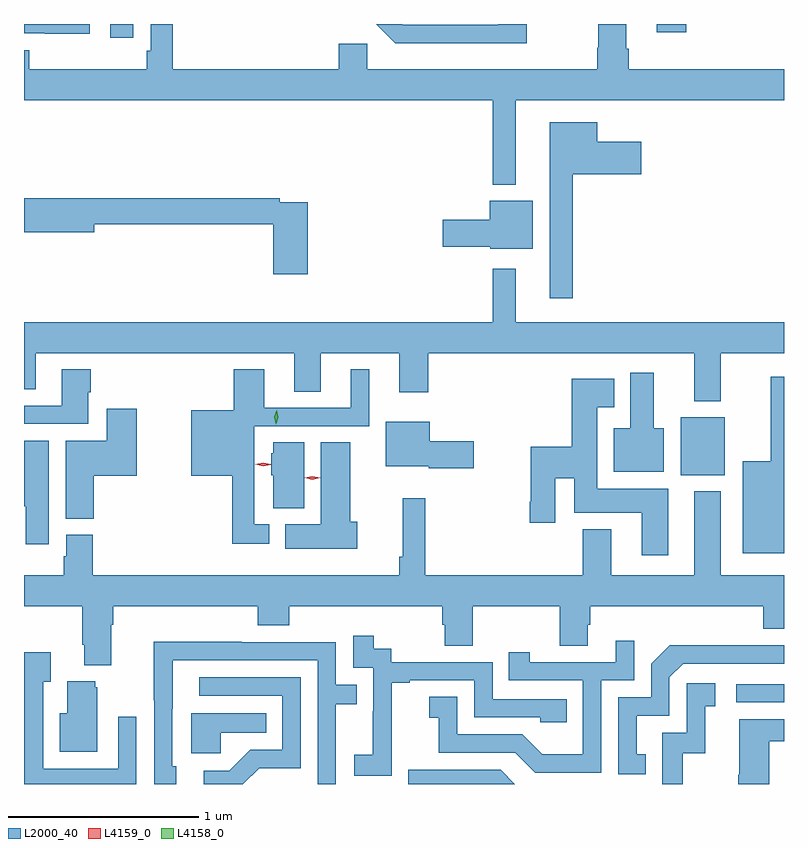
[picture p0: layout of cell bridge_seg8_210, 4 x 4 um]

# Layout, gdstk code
import gdstk
lib = gdstk.Library(unit=1e-6, precision=1e-09)
def R(c, l, rs):  # rectangles x0, y0, x1, y1
    for r in rs: c.add(gdstk.rectangle(r[:2], r[2:], *l))
def P(c, l, *ps):  # polygons
    for p in ps: c.add(gdstk.Polygon(p, *l))
L2000_40 = (2000, 40)
L4158_0 = (4158, 0)
L4159_0 = (4159, 0)

bridge_seg8_210 = lib.new_cell('bridge_seg8_210')
R(bridge_seg8_210, L2000_40, [(162.441,1105.338,162.693,1105.434), (162.149,1106.534,162.382,1106.839), (159.146,1108.836,159.268,1108.909), (162.023,1108.866,162.179,1108.909)])
P(bridge_seg8_210, L2000_40, [(161.281,1108.508),(162.693,1108.508),(162.693,1108.672),(161.876,1108.672),(161.876,1108.778),(161.863,1108.778),(161.863,1108.909),(161.716,1108.909),(161.716,1108.785),(161.711,1108.785),(161.711,1108.672),(160.5,1108.672),(160.5,1108.804),(160.349,1108.804),(160.349,1108.672),(159.476,1108.672),(159.476,1108.909),(159.36,1108.909),(159.36,1108.768),(159.34,1108.768),(159.34,1108.672),(158.72,1108.672),(158.72,1108.771),(158.693,1108.771),(158.693,1108.508),(161.16,1108.508),(161.16,1108.064),(161.281,1108.064)],
  [(159.04,1108.909),(158.693,1108.909),(158.693,1108.86),(158.803,1108.86),(158.803,1108.859),(159.04,1108.859)],
  [(161.338,1108.909),(161.189,1108.909),(161.189,1108.905),(160.689,1108.905),(160.685,1108.909),(160.547,1108.909),(160.648,1108.808),(161.338,1108.808)],
  [(161.581,1108.118),(161.941,1108.118),(161.941,1108.288),(161.71,1108.288),(161.71,1108.393),(161.459,1108.393),(161.459,1107.465),(161.581,1107.465)],
  [(160.187,1107.972),(160.04,1107.972),(160.04,1107.992),(158.693,1107.992),(158.693,1107.814),(159.064,1107.814),(159.064,1107.856),(160.004,1107.856),(160.004,1107.591),(160.187,1107.591)],
  [(161.371,1107.979),(161.144,1107.979),(161.144,1107.878),(160.896,1107.878),(160.896,1107.736),(161.148,1107.736),(161.148,1107.725),(161.371,1107.725)],
  [(162.361,1107.176),(162.693,1107.176),(162.693,1107.34),(161.281,1107.34),(161.281,1107.622),(161.16,1107.622),(161.16,1107.34),(158.693,1107.34),(158.693,1106.986),(158.755,1106.986),(158.755,1107.176),(160.115,1107.176),(160.115,1106.974),(160.255,1106.974),(160.255,1107.176),(160.667,1107.176),(160.667,1106.97),(160.82,1106.97),(160.82,1107.176),(162.221,1107.176),(162.221,1106.924),(162.361,1106.924)],
  [(159.983,1106.276),(159.906,1106.276),(159.906,1106.793),(160.51,1106.793),(160.51,1107.091),(160.412,1107.091),(160.412,1106.889),(159.958,1106.889),(159.958,1107.091),(159.797,1107.091),(159.797,1106.875),(159.572,1106.875),(159.572,1106.531),(159.79,1106.531),(159.79,1106.174),(159.983,1106.174)],
  [(159.031,1106.971),(159.044,1106.971),(159.044,1107.091),(158.891,1107.091),(158.891,1106.901),(158.693,1106.901),(158.693,1106.805),(159.031,1106.805)],
  [(162.061,1106.782),(162.007,1106.782),(162.007,1107.073),(161.885,1107.073),(161.885,1106.782),(161.798,1106.782),(161.798,1106.552),(162.061,1106.552)],
  [(162.693,1107.052),(162.623,1107.052),(162.623,1106.608),(162.476,1106.608),(162.476,1106.123),(162.693,1106.123)],
  [(162.085,1106.464),(161.71,1106.464),(161.71,1106.891),(161.8,1106.891),(161.8,1107.043),(161.576,1107.043),(161.576,1106.684),(161.359,1106.684),(161.359,1106.395),(161.354,1106.395),(161.354,1106.283),(161.488,1106.283),(161.488,1106.519),(161.588,1106.519),(161.588,1106.336),(161.945,1106.336),(161.945,1106.112),(162.085,1106.112)],
  [(159.059,1106.531),(159.286,1106.531),(159.286,1106.884),(159.128,1106.884),(159.128,1106.716),(158.912,1106.716),(158.912,1106.305),(159.059,1106.305)],
  [(161.059,1106.712),(160.828,1106.712),(160.828,1106.815),(160.598,1106.815),(160.598,1106.582),(160.824,1106.582),(160.824,1106.57),(161.059,1106.57)],
  [(158.824,1106.716),(158.693,1106.716),(158.693,1106.372),(158.702,1106.372),(158.702,1106.172),(158.824,1106.172)],
  [(160.447,1106.288),(160.411,1106.288),(160.411,1106.708),(160.256,1106.708),(160.256,1106.275),(160.068,1106.275),(160.068,1106.147),(160.447,1106.147)],
  [(160.168,1106.708),(160.004,1106.708),(160.004,1106.649),(159.995,1106.649),(159.995,1106.535),(160.004,1106.535),(160.004,1106.36),(160.168,1106.36)],
  [(159.151,1105.748),(159.164,1105.748),(159.164,1105.844),(159.923,1105.844),(159.923,1105.745),(160.088,1105.745),(160.088,1105.844),(160.895,1105.844),(160.895,1105.746),(160.907,1105.746),(160.907,1105.636),(161.055,1105.636),(161.055,1105.844),(161.512,1105.844),(161.512,1105.636),(161.659,1105.636),(161.659,1105.746),(161.672,1105.746),(161.672,1105.844),(162.584,1105.844),(162.584,1105.727),(162.693,1105.727),(162.693,1106.008),(162.361,1106.008),(162.361,1106.449),(162.221,1106.449),(162.221,1106.008),(161.785,1106.008),(161.785,1106.251),(161.633,1106.251),(161.633,1106.008),(160.805,1106.008),(160.805,1106.413),(160.687,1106.413),(160.687,1106.104),(160.669,1106.104),(160.669,1106.008),(159.056,1106.008),(159.056,1106.22),(158.915,1106.22),(158.915,1106.109),(158.903,1106.109),(158.903,1106.008),(158.693,1106.008),(158.693,1105.844),(158.999,1105.844),(158.999,1105.642),(159.011,1105.642),(159.011,1105.535),(159.151,1105.535)],
  [(160.629,1105.159),(160.628,1105.159),(160.628,1105.443),(160.723,1105.443),(160.723,1105.455),(161.064,1105.455),(161.064,1105.26),(161.409,1105.26),(161.409,1105.233),(161.549,1105.233),(161.549,1105.356),(161.16,1105.356),(161.16,1105.551),(160.626,1105.551),(160.626,1105.62),(160.534,1105.62),(160.534,1105.69),(160.425,1105.69),(160.425,1105.521),(160.53,1105.521),(160.53,1105.292),(160.529,1105.292),(160.529,1105.063),(160.431,1105.063),(160.431,1104.953),(160.629,1104.953)],
  [(161.73,1105.455),(161.904,1105.455),(161.904,1105.663),(161.807,1105.663),(161.807,1105.551),(161.356,1105.551),(161.356,1105.603),(161.245,1105.603),(161.245,1105.455),(161.634,1105.455),(161.634,1105.066),(161.42,1105.066),(161.316,1105.17),(160.974,1105.17),(160.974,1105.369),(160.827,1105.369),(160.827,1105.259),(160.876,1105.259),(160.876,1105.074),(161.279,1105.074),(161.384,1104.969),(161.73,1104.969)],
  [(159.493,1105.002),(159.474,1105.002),(159.474,1105.306),(159.475,1105.306),(159.475,1105.56),(160.239,1105.56),(160.239,1104.909),(160.335,1104.909),(160.335,1105.33),(160.445,1105.33),(160.445,1105.431),(160.335,1105.431),(160.335,1105.656),(159.839,1105.656),(159.839,1105.658),(159.376,1105.658),(159.376,1105.351),(159.378,1105.351),(159.378,1104.909),(159.493,1104.909)],
  [(161.966,1105.065),(161.917,1105.065),(161.917,1105.269),(162.09,1105.269),(162.09,1105.47),(162.162,1105.542),(162.693,1105.542),(162.693,1105.638),(162.5,1105.638),(162.5,1105.64),(162.092,1105.64),(161.994,1105.542),(161.994,1105.365),(161.82,1105.365),(161.82,1104.96),(161.966,1104.96)],
  [(159.285,1105.264),(159.189,1105.264),(159.189,1104.99),(158.793,1104.99),(158.793,1105.447),(158.833,1105.447),(158.833,1105.603),(158.693,1105.603),(158.693,1104.909),(159.285,1104.909)],
  [(159.93,1104.993),(160.149,1104.993),(160.149,1105.47),(159.615,1105.47),(159.615,1105.374),(160.053,1105.374),(160.053,1105.089),(159.884,1105.089),(159.773,1104.978),(159.639,1104.978),(159.639,1104.909),(159.845,1104.909)],
  [(159.079,1105.419),(159.068,1105.419),(159.068,1105.45),(158.921,1105.45),(158.921,1105.282),(158.882,1105.282),(158.882,1105.079),(159.079,1105.079)],
  [(162.16,1105.071),(162.278,1105.071),(162.278,1105.317),(162.331,1105.317),(162.331,1105.438),(162.18,1105.438),(162.18,1105.179),(162.051,1105.179),(162.051,1104.909),(162.16,1104.909)],
  [(159.729,1105.178),(159.968,1105.178),(159.968,1105.282),(159.572,1105.282),(159.572,1105.07),(159.729,1105.07)],
  [(162.616,1105.135),(162.693,1105.135),(162.693,1105.249),(162.458,1105.249),(162.458,1104.958),(162.451,1104.958),(162.451,1104.909),(162.616,1104.909)],
  [(161.202,1104.984),(160.716,1104.984),(160.716,1104.909),(161.277,1104.909)])
P(bridge_seg8_210, L4158_0, [(160.019,1106.805),(160.011,1106.841),(160.022,1106.876),(160.022,1106.876),(160.023,1106.876),(160.031,1106.84),(160.02,1106.805),(160.02,1106.805)])
P(bridge_seg8_210, L4159_0, [(160.211,1106.51),(160.171,1106.52),(160.171,1106.52),(160.171,1106.52),(160.211,1106.53),(160.252,1106.52),(160.252,1106.52),(160.252,1106.52)],
  [(159.951,1106.581),(159.911,1106.592),(159.91,1106.592),(159.911,1106.592),(159.952,1106.601),(159.992,1106.591),(159.992,1106.59),(159.992,1106.59)])

lib.write_gds('bridge_seg8_210.gds')
